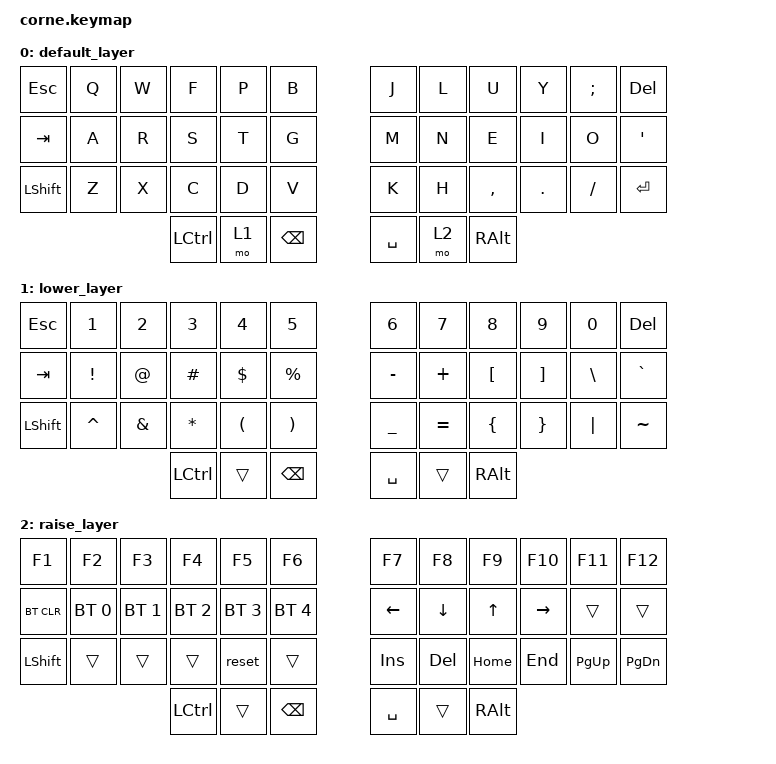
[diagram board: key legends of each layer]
/*
 * Copyright (c) 2020 The ZMK Contributors
 *
 * SPDX-License-Identifier: MIT
 */

#include <behaviors.dtsi>
#include <dt-bindings/zmk/keys.h>
#include <dt-bindings/zmk/bt.h>

/ {
        keymap {
                compatible = "zmk,keymap";

                default_layer {
// -----------------------------------------------------------------------------------------
// |  ESC |  Q  |  W  |  F  |  P  |  B  |   |  J  |  L   |  U  |  Y  |  ;  | DEL |
// | TAB  |  A  |  R  |  S  |  T  |  G  |   |  M  |  N   |  E  |  I  |  O  |  '   |
// | SHFT |  Z  |  X  |  C  |  D  |  V  |   |  K  |  H   |  ,  |  .  |  /  | ENT  |
//                    | CTRL | LWR | BKSP |   | SPC | RSE  | ALT |
                        bindings = <
   &kp ESC   &kp Q &kp W &kp F &kp P &kp B   &kp J &kp L  &kp U     &kp Y   &kp SEMI    &kp DEL
   &kp TAB   &kp A &kp R &kp S &kp T &kp G   &kp M &kp N  &kp E     &kp I   &kp O &kp SQT
   &kp LSHFT &kp Z &kp X &kp C &kp D &kp V   &kp K &kp H  &kp COMMA &kp DOT &kp FSLH &kp RET
                  &kp LCTRL &mo 1 &kp BSPC   &kp SPACE &mo 2 &kp RALT
                        >;
                };
                lower_layer {
// -----------------------------------------------------------------------------------------
// |  ESC |  1  |  2  |  3  |  4  |  5  |   |  6  |  7  |  8  |  9  |  0  | DEL |
// |  TAB |  !  |  @  |  #  |  $  |  %  |   |  -  |  +  |  [  |  ]  |  \  |  `   |
// | SHFT |  ^  |  &  |  *  |  (  |  )  |   |  _  |  =  |  {  |  }  | "|" |  ~   |
//                    |CTRL |    | BKSP |   | SPC |   | ALT |
                        bindings = <
   &kp ESC   &kp N1   &kp N2   &kp N3   &kp N4   &kp N5    		 &kp N6    &kp N7     &kp N8    &kp N9   &kp N0   &kp DEL
   &kp TAB   &kp EXCL &kp AT   &kp HASH &kp DLLR &kp PRCNT  	 &kp MINUS &kp PLUS   &kp LBKT  &kp RBKT &kp BSLH &kp GRAVE
   &kp LSHFT &kp CARET &kp AMPS &kp STAR &kp LPAR &kp RPAR       &kp UNDER &kp EQUAL  &kp LBRC  &kp RBRC &kp PIPE &kp TILDE
								&kp LCTRL &trans   &kp BSPC  	 &kp SPACE &trans   &kp RALT
                        >;
					};	 
						
				raise_layer {
// -----------------------------------------------------------------------------------------
// | F1   | F2  |  F3 | F4  |  F5 | F6  |   | F7  |  F8 |  F9  | F10 |  F11 | F12  |
// | BTCLR| BT1 | BT2 | BT3 | BT4 | BT5 |   | LFT | DWN |  UP  | RGT |      |      |
// | SHFT |     |     |     |     | RST |   | INS | DEL | HOME | END | PGUP | PGDN |
//                    |     |     | BKSP|   | SPC |    | ALT |
                        bindings = <
   &kp F1     &kp F2       &kp F3       &kp F4       &kp F5       &kp F6         &kp F7   &kp F8   &kp F9 &kp F10   &kp F11 &kp F12
   &bt BT_CLR &bt BT_SEL 0 &bt BT_SEL 1 &bt BT_SEL 2 &bt BT_SEL 3 &bt BT_SEL 4   &kp LEFT &kp DOWN &kp UP &kp RIGHT &trans &trans
   &kp LSHFT  &trans       &trans       &trans       &reset       &trans         &kp INS  &kp DEL &kp HOME &kp END  &kp PG_UP &kp PG_DN
						&kp LCTRL 	 &trans       &kp BSPC   	 &kp SPACE  &trans   &kp RALT
                        >;
                };			
            };
		};
      
	 
	  
	  &kscan0 {
    row-gpios= <&pro_micro 4 (GPIO_ACTIVE_HIGH | GPIO_PULL_DOWN)>
        , <&pro_micro 5 (GPIO_ACTIVE_HIGH | GPIO_PULL_DOWN)>
        , <&pro_micro 9 (GPIO_ACTIVE_HIGH | GPIO_PULL_DOWN)>
        , <&pro_micro 7 (GPIO_ACTIVE_HIGH | GPIO_PULL_DOWN)>
        ;
    };
